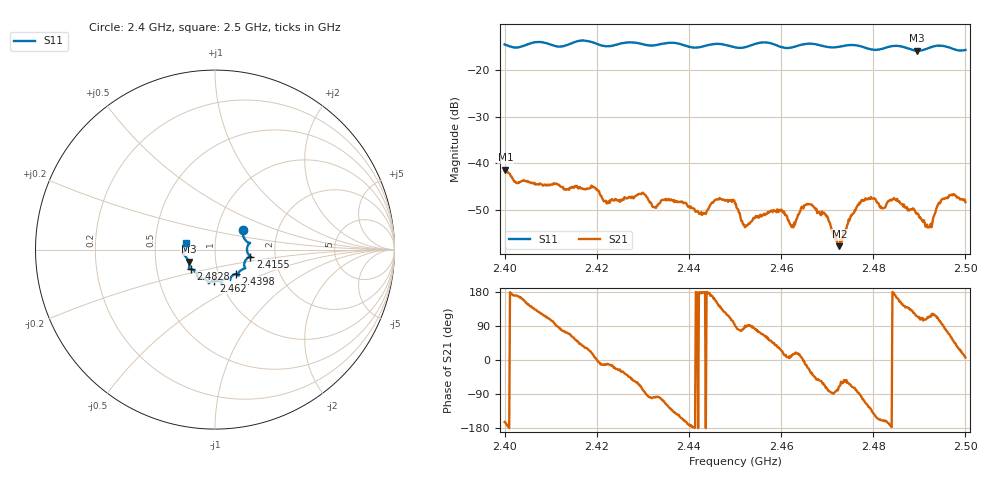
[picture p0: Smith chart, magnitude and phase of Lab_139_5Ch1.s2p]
# Hz S RI R 50
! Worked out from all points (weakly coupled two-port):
!   601 points, 2.4 GHz to 2.5 GHz, reference 50 ohm
!   highest |S21| = -41.39 dB at 2.4002 GHz (marker M1); lowest = -57.8 dB at 2.4727 GHz (marker M2)
!   lowest |S11| = -15.9 dB at 2.4895 GHz (marker M3), VSWR 1.38, Z = 37 - j5.04 ohm
!   |S11| at or under -10 dB: start of sweep to end of sweep
!   S12 and S22 are empty: the file has one direction only
!   S11 on the Smith chart (normalised r, x): 2.4 GHz: 1.33, +0.29; 2.4155 GHz: 1.49, -0.12; 2.4398 GHz: 1.21, -0.34; 2.462 GHz: 0.93, -0.33; 2.4828 GHz: 0.74, -0.17; 2.5 GHz: 0.72, +0.06
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2.4e9  0.1548 0.1066  -0.008 -0.00237  0 0  0 0
2.400167e9  0.1544 0.1042  -0.00822 -0.00223  0 0  0 0
2.402667e9  0.1619 0.0639  -0.00599 0.00112  0 0  0 0
2.4155e9  0.1974 -0.0396  0.00338 0.00447  0 0  0 0
2.416667e9  0.2022 -0.0429  0.00412 0.00341  0 0  0 0
2.433333e9  0.13 -0.1343  -0.000462 -0.00361  0 0  0 0
2.439833e9  0.1152 -0.136  -0.00334 -0.000613  0 0  0 0
2.443167e9  0.0877 -0.1562  -0.00293 5.44e-05  0 0  0 0
2.45e9  0.0652 -0.1623  -5.43e-05 0.00369  0 0  0 0
2.452167e9  0.0431 -0.1699  -1.56e-05 0.00205  0 0  0 0
2.459667e9  0.0244 -0.177  0.00262 0.00154  0 0  0 0
2.462e9  -0.00573 -0.1728  0.00217 0.000377  0 0  0 0
2.466667e9  -0.0346 -0.1879  0.00298 -0.00199  0 0  0 0
2.469667e9  -0.0449 -0.1722  0.000814 -0.0027  0 0  0 0
2.472667e9  -0.0774 -0.1599  0.000462 -0.0012  0 0  0 0
2.477167e9  -0.0969 -0.1518  -9.18e-05 -0.00369  0 0  0 0
2.482833e9  -0.136 -0.1083  -0.00341 -0.00115  0 0  0 0
2.483333e9  -0.1397 -0.1084  -0.00383 -0.000911  0 0  0 0
2.4895e9  -0.1461 -0.0664  -0.00122 0.00257  0 0  0 0
2.492167e9  -0.1697 -0.0329  -0.000866 0.00185  0 0  0 0
2.495167e9  -0.18 -0.0189  -3.55e-05 0.00415  0 0  0 0
2.5e9  -0.1592 0.0391  0.00379 0.000429  0 0  0 0
